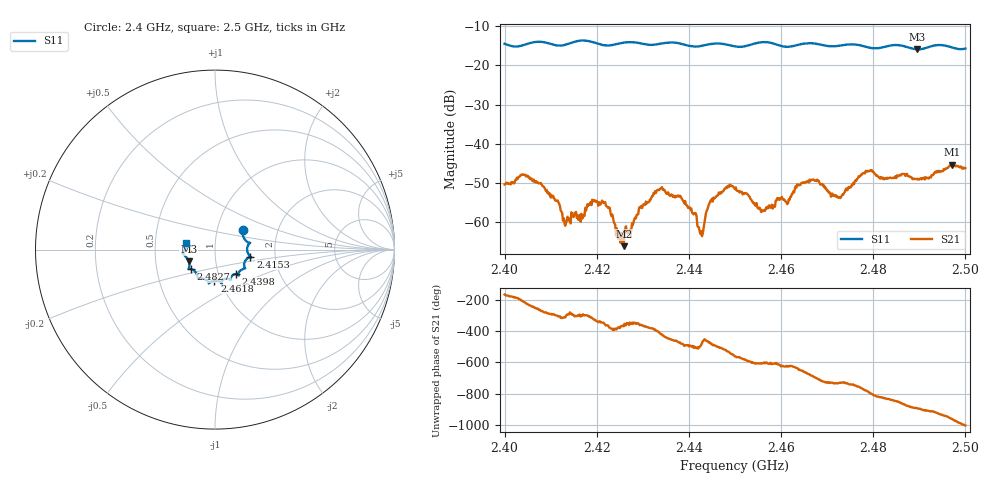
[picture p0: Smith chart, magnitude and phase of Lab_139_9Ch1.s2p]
# Hz S RI R 50
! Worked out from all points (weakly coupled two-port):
!   601 points, 2.4 GHz to 2.5 GHz, reference 50 ohm
!   highest |S21| = -45.35 dB at 2.4972 GHz (marker M1); lowest = -66.1 dB at 2.4258 GHz (marker M2)
!   lowest |S11| = -15.9 dB at 2.4895 GHz (marker M3), VSWR 1.38, Z = 37 - j5 ohm
!   |S11| at or under -10 dB: start of sweep to end of sweep
!   S12 and S22 are empty: the file has one direction only
!   S11 on the Smith chart (normalised r, x): 2.4 GHz: 1.33, +0.29; 2.4153 GHz: 1.48, -0.12; 2.4398 GHz: 1.21, -0.34; 2.4618 GHz: 0.94, -0.33; 2.4827 GHz: 0.75, -0.17; 2.5 GHz: 0.72, +0.06
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2.4e9  0.1551 0.1068  -0.00296 -0.00063  0 0  0 0
2.4045e9  0.1793 0.043  -0.00307 0.00263  0 0  0 0
2.413e9  0.1813 -0.0146  0.000658 0.000705  0 0  0 0
2.415333e9  0.1969 -0.0393  0.000728 0.00108  0 0  0 0
2.416667e9  0.2027 -0.0434  0.0007 0.00108  0 0  0 0
2.4215e9  0.1709 -0.0588  0.00173 0.000346  0 0  0 0
2.425833e9  0.1663 -0.1011  0.000488 -9.25e-05  0 0  0 0
2.433333e9  0.1299 -0.134  0.00185 -0.00184  0 0  0 0
2.439833e9  0.1151 -0.1359  -0.000983 -0.00117  0 0  0 0
2.442667e9  0.0903 -0.1515  -0.000493 -0.000594  0 0  0 0
2.444833e9  0.0839 -0.1677  -0.000938 -0.0016  0 0  0 0
2.45e9  0.0655 -0.1619  -0.00244 0.00102  0 0  0 0
2.456e9  0.0385 -0.1938  -0.000573 0.00126  0 0  0 0
2.461833e9  -0.00341 -0.1729  -0.000234 0.0019  0 0  0 0
2.466667e9  -0.0349 -0.1882  0.00291 0.00188  0 0  0 0
2.472667e9  -0.0776 -0.1602  0.00205 -0.000422  0 0  0 0
2.478833e9  -0.1024 -0.1356  0.00176 -0.00417  0 0  0 0
2.482667e9  -0.1351 -0.1086  -0.00135 -0.00338  0 0  0 0
2.483333e9  -0.1402 -0.1083  -0.00155 -0.00333  0 0  0 0
2.4895e9  -0.1458 -0.0658  -0.00349 -0.000477  0 0  0 0
2.497167e9  -0.1687 -0.00576  -0.00244 0.00482  0 0  0 0
2.5e9  -0.1591 0.0383  0.00113 0.00476  0 0  0 0
